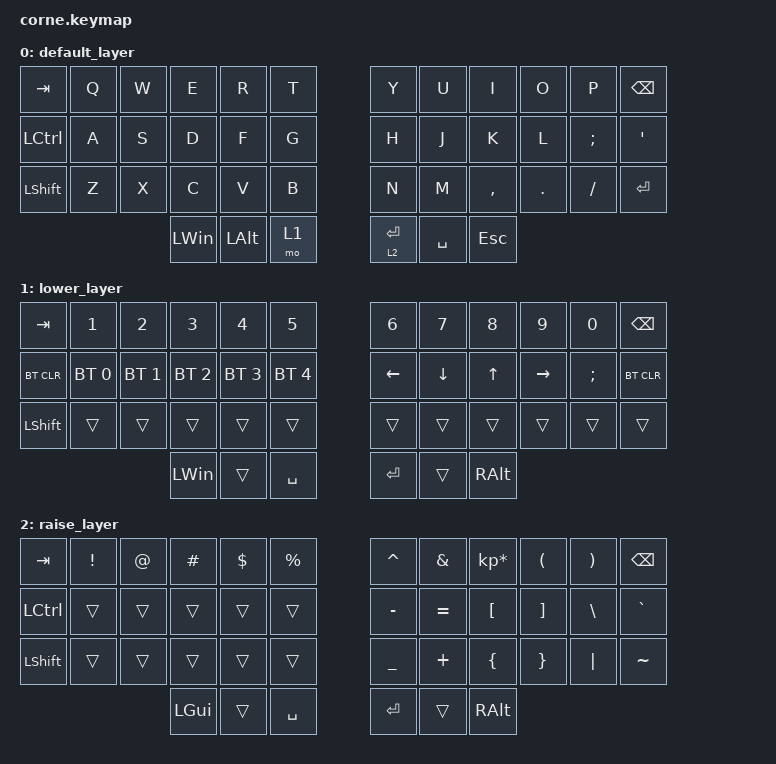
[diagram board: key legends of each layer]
/*
 * Copyright (c) 2020 The ZMK Contributors
 *
 * SPDX-License-Identifier: MIT
 */

#include <behaviors.dtsi>
#include <dt-bindings/zmk/keys.h>
#include <dt-bindings/zmk/bt.h>

/ {
        keymap {
                compatible = "zmk,keymap";

                default_layer {
// -----------------------------------------------------------------------------------------
// |  TAB |  Q  |  W  |  E  |  R  |  T  |   |  Y  |  U   |  I  |  O  |  P  | BKSP |
// | CTRL |  A  |  S  |  D  |  F  |  G  |   |  H  |  J   |  K  |  L  |  ;  |  '   |
// | SHFT |  Z  |  X  |  C  |  V  |  B  |   |  N  |  M   |  ,  |  .  |  /  | ENT  |
        //                    | LWIN | ALT | mo 1 |   | mo 2 | SPC  | ESC |
                        bindings = <
   &kp TAB   &kp Q &kp W &kp E &kp R &kp T   &kp Y &kp U  &kp I     &kp O   &kp P    &kp BSPC
   &kp LCTRL &kp A &kp S &kp D &kp F &kp G   &kp H &kp J  &kp K     &kp L   &kp SEMI &kp SQT
   &kp LSHFT &kp Z &kp X &kp C &kp V &kp B   &kp N &kp M  &kp COMMA &kp DOT &kp FSLH &kp RET
                 &kp LWIN &kp LALT &mo 1      &lt 2 RET &kp SPACE &kp ESC
                        >;
                };
                lower_layer {
// -----------------------------------------------------------------------------------------
// |  TAB |  1  |  2  |  3  |  4  |  5  |   |  6  |  7  |  8  |  9  |  0  | BKSP |
// | CTRL | BT1 | BT2 | BT3 | BT4 | BT5 |   | LFT | DWN |  UP | RGT |  ;  |  '   |
// | SHFT |     |     |     |     |     |   |     |     |     |     |     |      |
//                    | LWIN |     | SPC |   | ENT |     | RALT |
                        bindings = <
   &kp TAB    &kp N1       &kp N2       &kp N3       &kp N4       &kp N5         &kp N6   &kp N7   &kp N8 &kp N9    &kp N0 &kp BSPC
   &bt BT_CLR  &bt BT_SEL 0 &bt BT_SEL 1 &bt BT_SEL 2 &bt BT_SEL 3 &bt BT_SEL 4   &kp LEFT &kp DOWN &kp UP &kp RIGHT &kp SEMI &bt BT_CLR
   &kp LSHFT  &trans       &trans       &trans       &trans       &trans         &trans   &trans   &trans &trans    &trans &trans
                          	        &kp LWIN     &trans       &kp SPACE      &kp RET  &trans   &kp RALT
                        >;
                };

                raise_layer {
// -----------------------------------------------------------------------------------------
// |  TAB |  !  |  @  |  #  |  $  |  %  |   |  ^  |  &  |  *  |  (  |  )  | BKSP |
// | CTRL |     |     |     |     |     |   |  -  |  =  |  [  |  ]  |  \  |  `   |
// | SHFT |     |     |     |     |     |   |  _  |  +  |  {  |  }  | "|" |  ~   |
//                    | LWIN |     | SPC |   | ENT |     | ALT |
                        bindings = <
   &kp  TAB  &kp EXCL &kp AT &kp HASH &kp DLLR &kp PRCNT   &kp CARET &kp AMPS  &kp KP_MULTIPLY &kp LPAR &kp RPAR &kp BSPC
   &kp LCTRL &trans   &trans &trans   &trans   &trans      &kp MINUS &kp EQUAL &kp LBKT        &kp RBKT &kp BSLH &kp GRAVE
   &kp LSHFT &trans   &trans &trans   &trans   &trans      &kp UNDER &kp PLUS  &kp LBRC        &kp RBRC &kp PIPE &kp TILDE
                    	     &kp LGUI &trans   &kp SPACE   &kp RET   &trans    &kp RALT
                        >;
                };
        };
};
